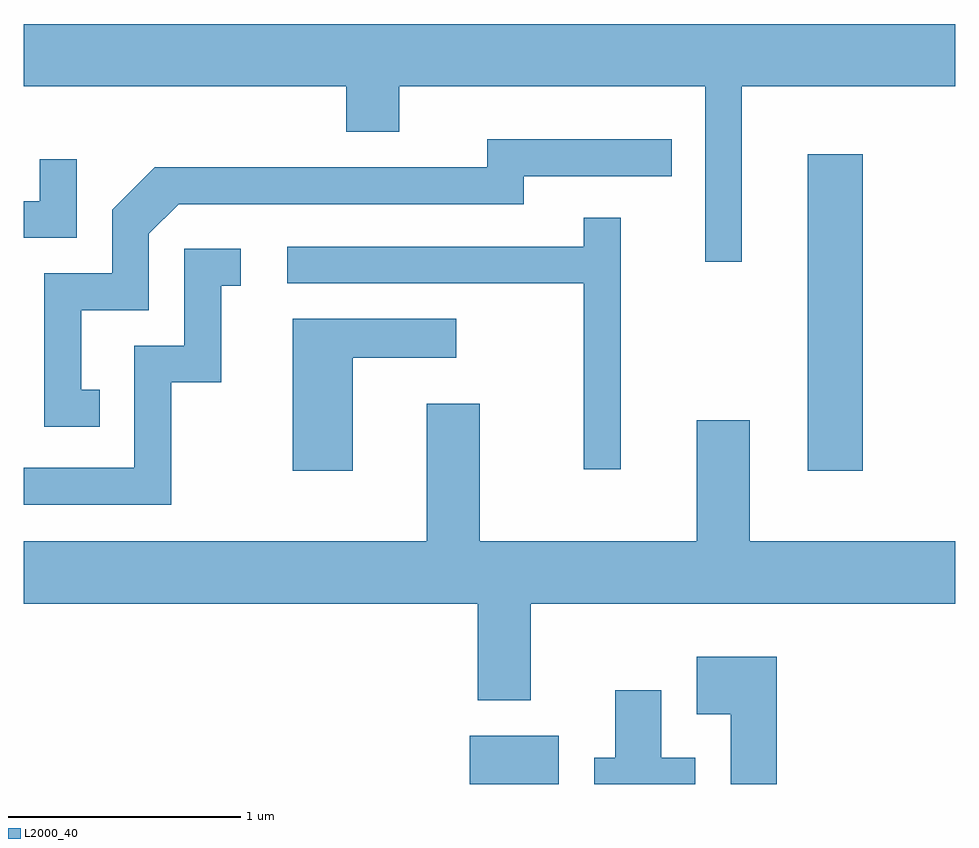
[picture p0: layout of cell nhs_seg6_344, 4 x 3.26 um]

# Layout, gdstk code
import gdstk
lib = gdstk.Library(unit=1e-6, precision=1e-09)
def R(c, l, rs):  # rectangles x0, y0, x1, y1
    for r in rs: c.add(gdstk.rectangle(r[:2], r[2:], *l))
def P(c, l, *ps):  # polygons
    for p in ps: c.add(gdstk.Polygon(p, *l))
L2000_40 = (2000, 40)

nhs_seg6_344 = lib.new_cell('nhs_seg6_344')
R(nhs_seg6_344, L2000_40, [(197.526,1538.162,197.909,1538.369), (198.976,1539.506,199.214,1540.864)])
P(nhs_seg6_344, L2000_40, [(198.694,1541.156),(199.611,1541.156),(199.611,1541.424),(195.611,1541.424),(195.611,1541.156),(196.996,1541.156),(196.996,1540.961),(197.224,1540.961),(197.224,1541.156),(198.536,1541.156),(198.536,1540.403),(198.694,1540.403)],
  [(195.938,1539.854),(195.859,1539.854),(195.859,1540.196),(196.149,1540.196),(196.149,1540.524),(196.277,1540.651),(197.759,1540.651),(197.759,1540.771),(198.393,1540.771),(198.393,1540.929),(197.601,1540.929),(197.601,1540.809),(196.174,1540.809),(195.991,1540.627),(195.991,1540.354),(195.701,1540.354),(195.701,1539.696),(195.938,1539.696)],
  [(195.839,1540.843),(195.681,1540.843),(195.681,1540.664),(195.611,1540.664),(195.611,1540.506),(195.839,1540.506)],
  [(198.174,1540.593),(198.016,1540.593),(198.016,1540.469),(196.743,1540.469),(196.743,1540.311),(198.016,1540.311),(198.016,1539.513),(198.174,1539.513)],
  [(196.244,1539.886),(196.459,1539.886),(196.459,1540.301),(196.543,1540.301),(196.543,1540.459),(196.301,1540.459),(196.301,1540.044),(196.086,1540.044),(196.086,1539.519),(195.611,1539.519),(195.611,1539.361),(196.244,1539.361)],
  [(197.024,1539.991),(197.468,1539.991),(197.468,1540.159),(196.766,1540.159),(196.766,1539.506),(197.024,1539.506)],
  [(197.789,1538.936),(199.611,1538.936),(199.611,1539.204),(198.729,1539.204),(198.729,1539.724),(198.501,1539.724),(198.501,1539.204),(197.569,1539.204),(197.569,1539.794),(197.341,1539.794),(197.341,1539.204),(195.611,1539.204),(195.611,1538.936),(197.561,1538.936),(197.561,1538.521),(197.789,1538.521)],
  [(198.844,1538.709),(198.501,1538.709),(198.501,1538.461),(198.646,1538.461),(198.646,1538.162),(198.844,1538.162)],
  [(198.494,1538.274),(198.349,1538.274),(198.349,1538.564),(198.151,1538.564),(198.151,1538.274),(198.061,1538.274),(198.061,1538.162),(198.494,1538.162)])

lib.write_gds('nhs_seg6_344.gds')
